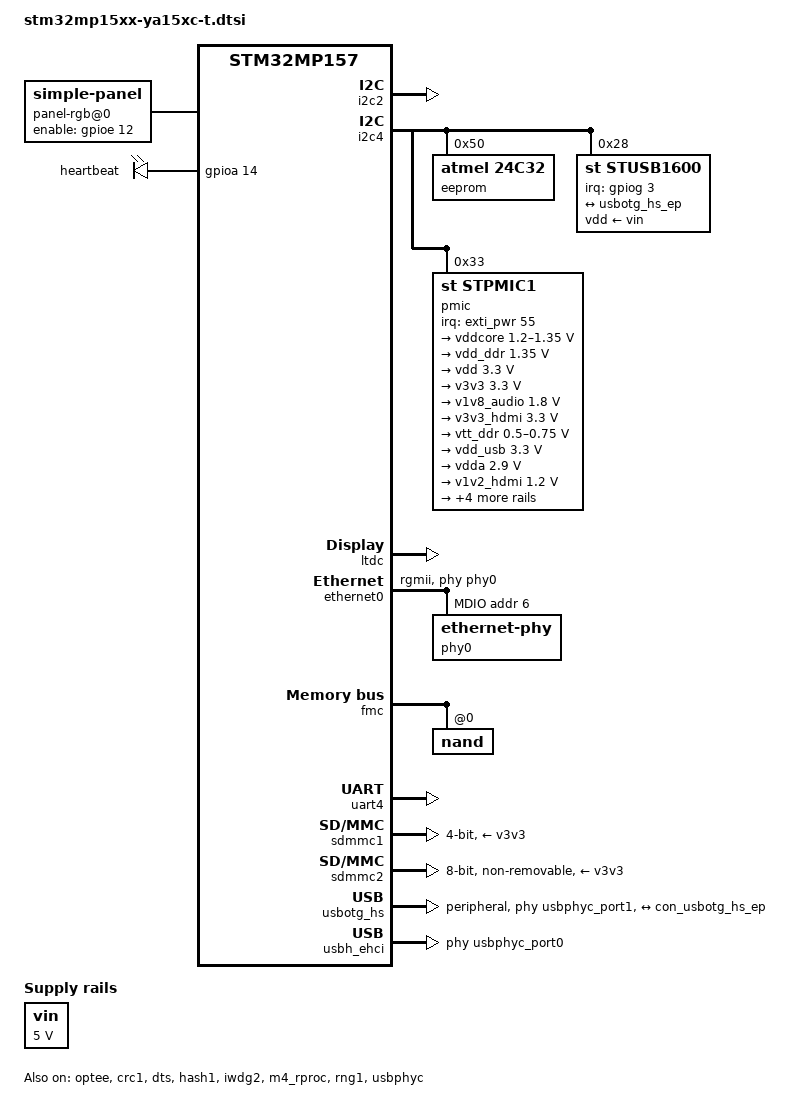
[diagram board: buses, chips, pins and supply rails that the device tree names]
// SPDX-License-Identifier: (GPL-2.0+ OR BSD-3-Clause)
/*
 * Copyright (C) myir - All Rights Reserved
 * 
 */

#include "stm32mp157-m4-srm.dtsi"
#include "stm32mp157-m4-srm-pinctrl.dtsi"
#include <dt-bindings/mfd/st,stpmic1.h>
#include <dt-bindings/clock/stm32mp1-clksrc.h>

/ {
	

	reserved-memory {
		#address-cells = <1>;
		#size-cells = <1>;
		ranges;

		mcuram2: mcuram2@10000000 {
			compatible = "shared-dma-pool";
			reg = <0x10000000 0x40000>;
			no-map;
		};

		vdev0vring0: vdev0vring0@10040000 {
			compatible = "shared-dma-pool";
			reg = <0x10040000 0x1000>;
			no-map;
		};

		vdev0vring1: vdev0vring1@10041000 {
			compatible = "shared-dma-pool";
			reg = <0x10041000 0x1000>;
			no-map;
		};

		vdev0buffer: vdev0buffer@10042000 {
			compatible = "shared-dma-pool";
			reg = <0x10042000 0x4000>;
			no-map;
		};

		mcuram: mcuram@30000000 {
			compatible = "shared-dma-pool";
			reg = <0x30000000 0x40000>;
			no-map;
		};

		retram: retram@38000000 {
			compatible = "shared-dma-pool";
			reg = <0x38000000 0x10000>;
			no-map;
		};
	};

	usb_phy_tuning: usb-phy-tuning {
		st,hs-dc-level = <2>;
		st,fs-rftime-tuning;
		st,hs-rftime-reduction;
		st,hs-current-trim = <15>;
		st,hs-impedance-trim = <1>;
		st,squelch-level = <3>;
		st,hs-rx-offset = <2>;
		st,no-lsfs-sc;
	};

	 vin: vin {
                compatible = "regulator-fixed";
                regulator-name = "vin";
                regulator-min-microvolt = <5000000>;
                regulator-max-microvolt = <5000000>;
                regulator-always-on;
        };
	
	wifi_bt_power:wifi_bt_power {
              compatible = "wifibt-rst";
               /*
		 wifi {
                    label = "wifi-rst";
                    gpios = <&gpiof 3 GPIO_ACTIVE_HIGH>;
                };
                bt {
                    label = "bt-rst";
                    gpios = <&gpiof 15 GPIO_ACTIVE_HIGH>;
                };
		*/
                phy {
                    label = "phy-rest";
                    gpios = <&gpiog 3 GPIO_ACTIVE_HIGH>;
                };
         };


/*
	 panel {
                compatible = "simple-panel";
                interrupts = <11 IRQ_TYPE_EDGE_FALLING>;
                interrupt-parent = <&gpioe>;
                pinctrl-names = "default", "sleep";
                pinctrl-0 = <&ltdc_pins_a>;
                pinctrl-1 = <&ltdc_pins_sleep_a>;
                enable-gpios = <&gpioe 12 GPIO_ACTIVE_LOW>;

                
                status = "okay";

                port {
                        panel_in: endpoint {
                                remote-endpoint = <&ltdc_ep0_out>;
                        };

                };
        };
*/
	panel-rgb@0 {
		compatible = "simple-panel";
		//backlight = <&backlight>;
		enable-gpios = <&gpioe 12 0>;
		status = "okay";

		display-timings {
			timing@0 {
				clock-frequency = <9000000>;
				hactive = <480>;
				vactive = <272>;
				hfront-porch = <2>;
				hback-porch = <2>;
				hsync-len = <41>;
				vfront-porch = <2>;
				vback-porch = <2>;
				vsync-len = <10>;
				hsync-active = <0>;
				vsync-active = <0>;
				de-active = <0>;
				pixelclk-active = <1>;
			};
		};
	};


	led {
		compatible = "gpio-leds";
		blue {
			label = "heartbeat";
			gpios = <&gpioa 14 GPIO_ACTIVE_HIGH>;
			linux,default-trigger = "heartbeat";
			default-state = "off";
		};
	};

};

&i2c2{
	pinctrl-names = "default", "sleep";
	pinctrl-0 = <&i2c2_pins_mx &i2c2_pins_z_mx>;
	pinctrl-1 = <&i2c2_sleep_pins_mx &i2c2_sleep_pins_z_mx>;
	status = "okay";

	/* USER CODE BEGIN i2c2 */
	/* USER CODE END i2c2 */

/*	stusb1600@28 {
		compatible = "st,stusb1600";
		reg = <0x28>;
		interrupts = <10 IRQ_TYPE_EDGE_FALLING>;
		interrupt-parent = <&gpioa>;
		pinctrl-names = "default";
		pinctrl-0 = <&stusb1600_pins_a>;
		status = "okay";
		vdd-supply = <&vin>;

		connector {
			compatible = "usb-c-connector";
			label = "USB-C";
			power-role = "dual";
			power-opmode = "default";
	
			port {
				con_usbotg_hs_ep: endpoint {
					remote-endpoint = <&usbotg_hs_ep>;
				};
			};

		};
	};
*/
};


&i2c4 {
	pinctrl-names = "default", "sleep";
	pinctrl-0 = <&i2c4_pins_a>;
	pinctrl-1 = <&i2c4_pins_sleep_a>;
	i2c-scl-rising-time-ns = <185>;
	i2c-scl-falling-time-ns = <20>;
	
	status = "okay";
	/* spare dmas for other usage */
	/delete-property/dmas;
	/delete-property/dma-names;
	
	 eeprom@50 {
                compatible = "atmel,24c32";
                reg = <0x50>;
                pagesize = <32>;
                //wp-gpios = <&gpioa 14 0>;
                //num-addresses = <8>;
	      };

	 stusb1600@28 {
                compatible = "st,stusb1600";
                reg = <0x28>;
                interrupts = <3 IRQ_TYPE_EDGE_FALLING>;
                interrupt-parent = <&gpiog>;
                pinctrl-names = "default";
                pinctrl-0 = <&stusb1600_pins_a>;
                status = "okay";
                vdd-supply = <&vin>;

                connector {
                        compatible = "usb-c-connector";
                        label = "USB-C";
                        power-role = "dual";
                        power-opmode = "default";

                        port {
                                con_usbotg_hs_ep: endpoint {
                                        remote-endpoint = <&usbotg_hs_ep>;
                                };
                        };

                };
        };


	pmic: stpmic@33 {
		compatible = "st,stpmic1";
		reg = <0x33>;
		interrupts-extended = <&exti_pwr 55 IRQ_TYPE_EDGE_FALLING>;
		interrupt-controller;
		#interrupt-cells = <2>;
		status = "okay";

		regulators {
			compatible = "st,stpmic1-regulators";
			buck1-supply = <&vin>;
			buck2-supply = <&vin>;
			buck3-supply = <&vin>;
			buck4-supply = <&vin>;
			ldo1-supply = <&v3v3>;
			ldo2-supply = <&vin>;
			ldo3-supply = <&vdd_ddr>;
			ldo4-supply = <&vin>;
			ldo5-supply = <&vin>;
			ldo6-supply = <&v3v3>;
			vref_ddr-supply = <&vin>;
			boost-supply = <&vin>;
			pwr_sw1-supply = <&bst_out>;
			pwr_sw2-supply = <&bst_out>;

			vddcore: buck1 {
				regulator-name = "vddcore";
				regulator-min-microvolt = <1200000>;
				regulator-max-microvolt = <1350000>;
				regulator-always-on;
				regulator-initial-mode = <0>;
				regulator-over-current-protection;
			};

			vdd_ddr: buck2 {
				regulator-name = "vdd_ddr";
				regulator-min-microvolt = <1350000>;
				regulator-max-microvolt = <1350000>;
				regulator-always-on;
				regulator-initial-mode = <0>;
				regulator-over-current-protection;
			};

			vdd: buck3 {
				regulator-name = "vdd";
				regulator-min-microvolt = <3300000>;
				regulator-max-microvolt = <3300000>;
				regulator-always-on;
				st,mask-reset;
				regulator-initial-mode = <0>;
				regulator-over-current-protection;
			};

			v3v3: buck4 {
				regulator-name = "v3v3";
				regulator-min-microvolt = <3300000>;
				regulator-max-microvolt = <3300000>;
				regulator-always-on;
				regulator-over-current-protection;
				regulator-initial-mode = <0>;
			};

			v1v8_audio: ldo1 {
				regulator-name = "v1v8_audio";
				regulator-min-microvolt = <1800000>;
				regulator-max-microvolt = <1800000>;
				regulator-always-on;
				interrupts = <IT_CURLIM_LDO1 0>;
			};

			v3v3_hdmi: ldo2 {
				regulator-name = "v3v3_hdmi";
				regulator-min-microvolt = <3300000>;
				regulator-max-microvolt = <3300000>;
				regulator-always-on;
				interrupts = <IT_CURLIM_LDO2 0>;
			};

			vtt_ddr: ldo3 {
				regulator-name = "vtt_ddr";
				regulator-min-microvolt = <500000>;
				regulator-max-microvolt = <750000>;
				regulator-always-on;
				regulator-over-current-protection;
			};

			vdd_usb: ldo4 {
				regulator-name = "vdd_usb";
				regulator-min-microvolt = <3300000>;
				regulator-max-microvolt = <3300000>;
				interrupts = <IT_CURLIM_LDO4 0>;
				regulator-always-on;
			};

			vdda: ldo5 {
				regulator-name = "vdda";
				regulator-min-microvolt = <2900000>;
				regulator-max-microvolt = <2900000>;
				interrupts = <IT_CURLIM_LDO5 0>;
				regulator-boot-on;
			};

			v1v2_hdmi: ldo6 {
				regulator-name = "v1v2_hdmi";
				regulator-min-microvolt = <1200000>;
				regulator-max-microvolt = <1200000>;
				regulator-always-on;
				interrupts = <IT_CURLIM_LDO6 0>;
			};

			vref_ddr: vref_ddr {
				regulator-name = "vref_ddr";
				regulator-always-on;
				regulator-over-current-protection;
			};

			 bst_out: boost {
				regulator-name = "bst_out";
				interrupts = <IT_OCP_BOOST 0>;
			 };

			vbus_otg: pwr_sw1 {
				regulator-name = "vbus_otg";
				interrupts = <IT_OCP_OTG 0>;
			 };

			 vbus_sw: pwr_sw2 {
				regulator-name = "vbus_sw";
				interrupts = <IT_OCP_SWOUT 0>;
				regulator-active-discharge = <1>;
			 };
		};

		onkey {
			compatible = "st,stpmic1-onkey";
			interrupts = <IT_PONKEY_F 0>, <IT_PONKEY_R 0>;
			interrupt-names = "onkey-falling", "onkey-rising";
			power-off-time-sec = <10>;
			status = "okay";
		};

		watchdog {
			compatible = "st,stpmic1-wdt";
			status = "disabled";
		};
	};
};

&optee {
	status = "okay";
};

&cpu0{
	cpu-supply = <&vddcore>;
};


&crc1 {
	status = "okay";
};

&dma1 {
	sram = <&dma_pool>;
};

&dma2 {
	sram = <&dma_pool>;
};

&dts {
	status = "okay";
};

&ltdc {
	status = "okay";
};

/* test HDMI*/
/*
&ltdc {
    status = "okay";
    port {
            #address-cells = <1>;
            #size-cells = <0>;

            ltdc_ep1_out: endpoint@1 {
                          reg = <1>;
                          remote-endpoint = <&sii9022_in>;
                         };
        };
};
*/
/*test LCD*/
/*
&ltdc {
        status = "okay";

        port {
                #address-cells = <1>;
                #size-cells = <0>;

                ltdc_ep0_out: endpoint@0 {
                                reg = <0>;
                                remote-endpoint = <&panel_in>;
                                };
           };
};*/


/*
&i2c2 {
        hdmi-transmitter@39 {
                compatible = "sil,sii9022";
                reg = <0x39>;
                reset-gpios = <&gpioc 7 GPIO_ACTIVE_LOW>;
                interrupts = <10 IRQ_TYPE_EDGE_FALLING>;
                interrupt-parent = <&gpioa>;
                pinctrl-names = "default", "sleep";
                pinctrl-0 = <&ltdc_pins_a>;
                pinctrl-1 = <&ltdc_pins_sleep_a>;
                status = "okay";

                ports {
                        #address-cells = <1>;
                        #size-cells = <0>;

                        port@0 {
                                reg = <0>;
                                sii9022_in: endpoint {
                                        remote-endpoint = <&ltdc_ep1_out>;
                                };
                        };

                };
        };
};
*/



&ethernet0 {
        status = "okay";
        pinctrl-0 = <&ethernet0_rgmii_pins_a>;
        pinctrl-1 = <&ethernet0_rgmii_pins_sleep_a>;
        pinctrl-names = "default", "sleep";
        phy-mode = "rgmii";
        max-speed = <1000>;
        phy-handle = <&phy0>;

        mdio0 {
                #address-cells = <1>;
                #size-cells = <0>;
                compatible = "snps,dwmac-mdio";
                phy0: ethernet-phy@6 {
                        reg = <6>;
                };
        };
};


&hash1 {
	status = "okay";
};


&ipcc {
	status = "okay";
};

&iwdg2 {
	timeout-sec = <32>;
	status = "okay";
};


&m4_rproc {
	memory-region = <&retram>, <&mcuram>, <&mcuram2>, <&vdev0vring0>,
			<&vdev0vring1>, <&vdev0buffer>;
	mboxes = <&ipcc 0>, <&ipcc 1>, <&ipcc 2>;
	mbox-names = "vq0", "vq1", "shutdown";
	interrupt-parent = <&exti>;
	interrupts = <68 1>;
	wakeup-source;
	status = "okay";
};

&rng1 {
	status = "okay";
};

&rtc {
	status = "disable";
};


&fmc {
        pinctrl-names = "default", "sleep";
        pinctrl-0 = <&fmc_pins_a>;
        pinctrl-1 = <&fmc_sleep_pins_a>;
        status = "okay";
        #address-cells = <1>;
        #size-cells = <0>;

        nand: nand@0 {
                reg = <0>;
                nand-on-flash-bbt;
                #address-cells = <1>;
                #size-cells = <1>;
                nand-ecc-strength = <4>;
                nand-ecc-step-size = <512>;
        };
};


&sram {
	dma_pool: dma_pool@0 {
		reg = <0x50000 0x10000>;
		pool;
	};
};


&uart4 {
	pinctrl-names = "default", "sleep", "idle";
	pinctrl-0 = <&uart4_pins_a>;
	pinctrl-1 = <&uart4_sleep_pins_a>;
	pinctrl-2 = <&uart4_idle_pins_a>;
	pinctrl-3 = <&uart4_pins_a>;
	/delete-property/dmas;
	/delete-property/dma-names;
	status = "okay";
};

&pwr_regulators {
	vdd-supply = <&vdd>;
//	vdd_3v3_usbfs-supply = <&vdd_usb>;
};

/*
&fmc {
	pinctrl-names = "default", "sleep";
	pinctrl-0 = <&fmc_pins_a>;
	pinctrl-1 = <&fmc_sleep_pins_a>;
	status = "okay";
	#address-cells = <1>;
	#size-cells = <0>;

	nand@0 {
                reg = <0>;
                nand-on-flash-bbt;
                #address-cells = <1>;
                #size-cells = <1>;
        };

};
*/

&sdmmc1 {
        pinctrl-names = "default", "opendrain", "sleep";
        pinctrl-0 = <&sdmmc1_b4_pins_a>;
        pinctrl-1 = <&sdmmc1_b4_od_pins_a>;
        pinctrl-2 = <&sdmmc1_b4_sleep_pins_a>;
        broken-cd;
        st,neg-edge;
        bus-width = <4>;
        vmmc-supply = <&v3v3>;
        status = "okay";
};


&sdmmc2 {
        pinctrl-names = "default", "opendrain", "sleep";
        pinctrl-0 = <&sdmmc2_b4_pins_a &sdmmc2_d47_pins_a>;
        pinctrl-1 = <&sdmmc2_b4_od_pins_a &sdmmc2_d47_pins_a>;
        pinctrl-2 = <&sdmmc2_b4_sleep_pins_a &sdmmc2_d47_sleep_pins_a>;
        non-removable;
        no-sd;
        no-sdio;
        st,neg-edge;
        bus-width = <8>;
        vmmc-supply = <&v3v3>;
        vqmmc-supply = <&v3v3>;
        mmc-ddr-3_3v;
        status = "okay";
};


&usbotg_hs {
	 u-boot,force-b-session-valid;
        hnp-srp-disable;
        /* TEMP: force peripheral for USB OTG */
        dr_mode = "peripheral";
        phys = <&usbphyc_port1 0>;
        phy-names = "usb2-phy";
     
        status = "okay";

        port {
                usbotg_hs_ep: endpoint {
                        remote-endpoint = <&con_usbotg_hs_ep>;
                };
        };
};


&usbphyc {
	status = "okay";
};


&usbphyc_port1 {
	phy-supply = <&vdd_usb>;
	st,phy-tuning = <&usb_phy_tuning>;
};

&usbh_ehci {
	phys = <&usbphyc_port0>;
	status = "okay";
};


&usbphyc_port0 {
	phy-supply = <&vdd_usb>;
	st,phy-tuning = <&usb_phy_tuning>;
};

&rcc {
	st,clksrc = <
		CLK_MPU_PLL1P
		CLK_AXI_PLL2P
		CLK_MCU_PLL3P
		CLK_PLL12_HSE
		CLK_PLL3_HSE
		CLK_PLL4_HSE
		CLK_RTC_LSE
		CLK_MCO1_DISABLED
		CLK_MCO2_DISABLED
	>;

	st,clkdiv = <
		1 /*MPU*/
		0 /*AXI*/
		0 /*MCU*/
		1 /*APB1*/
		1 /*APB2*/
		1 /*APB3*/
		1 /*APB4*/
		2 /*APB5*/
		23 /*RTC*/
		0 /*MCO1*/
		0 /*MCO2*/
	>;

	st,pkcs = <
		CLK_CKPER_HSE
		CLK_FMC_ACLK
		CLK_QSPI_ACLK
		CLK_ETH_DISABLED
		CLK_SDMMC12_PLL4P
		CLK_DSI_DSIPLL
		CLK_STGEN_HSE
		CLK_USBPHY_HSE
		CLK_SPI2S1_PLL3Q
		CLK_SPI2S23_PLL3Q
		CLK_SPI45_HSI
		CLK_SPI6_HSI
		CLK_I2C46_HSI
		CLK_SDMMC3_PLL4P
		CLK_USBO_USBPHY
		CLK_ADC_CKPER
		CLK_CEC_LSE
		CLK_I2C12_HSI
		CLK_I2C35_HSI
		CLK_UART1_HSI
		CLK_UART24_HSI
		CLK_UART35_HSI
		CLK_UART6_HSI
		CLK_UART78_HSI
		CLK_SPDIF_PLL4P
		CLK_FDCAN_PLL4R
		CLK_SAI1_PLL3Q
		CLK_SAI2_PLL3Q
		CLK_SAI3_PLL3Q
		CLK_SAI4_PLL3Q
		CLK_RNG1_LSI
		CLK_RNG2_LSI
		CLK_LPTIM1_PCLK1
		CLK_LPTIM23_PCLK3
		CLK_LPTIM45_LSE
	>;

	/* VCO = 1066.0 MHz => P = 266 (AXI), Q = 533 (GPU), R = 533 (DDR) */
	pll2: st,pll@1 {
		compatible = "st,stm32mp1-pll";
		reg = <1>;
		cfg = < 2 65 1 0 0 PQR(1,1,1) >;
		frac = < 0x1400 >;
		u-boot,dm-pre-reloc;
	};

	/* VCO = 417.8 MHz => P = 209, Q = 24, R = 11 */
	pll3: st,pll@2 {
		compatible = "st,stm32mp1-pll";
		reg = <2>;
		cfg = < 1 33 1 16 36 PQR(1,1,1) >;
		frac = < 0x1a04 >;
		u-boot,dm-pre-reloc;
	};

	/* VCO = 594.0 MHz => P = 99, Q = 74, R = 74 */
	pll4: st,pll@3 {
		compatible = "st,stm32mp1-pll";
		reg = <3>;
		cfg = < 3 98 5 7 7 PQR(1,1,1) >;
		u-boot,dm-pre-reloc;
	};
};




